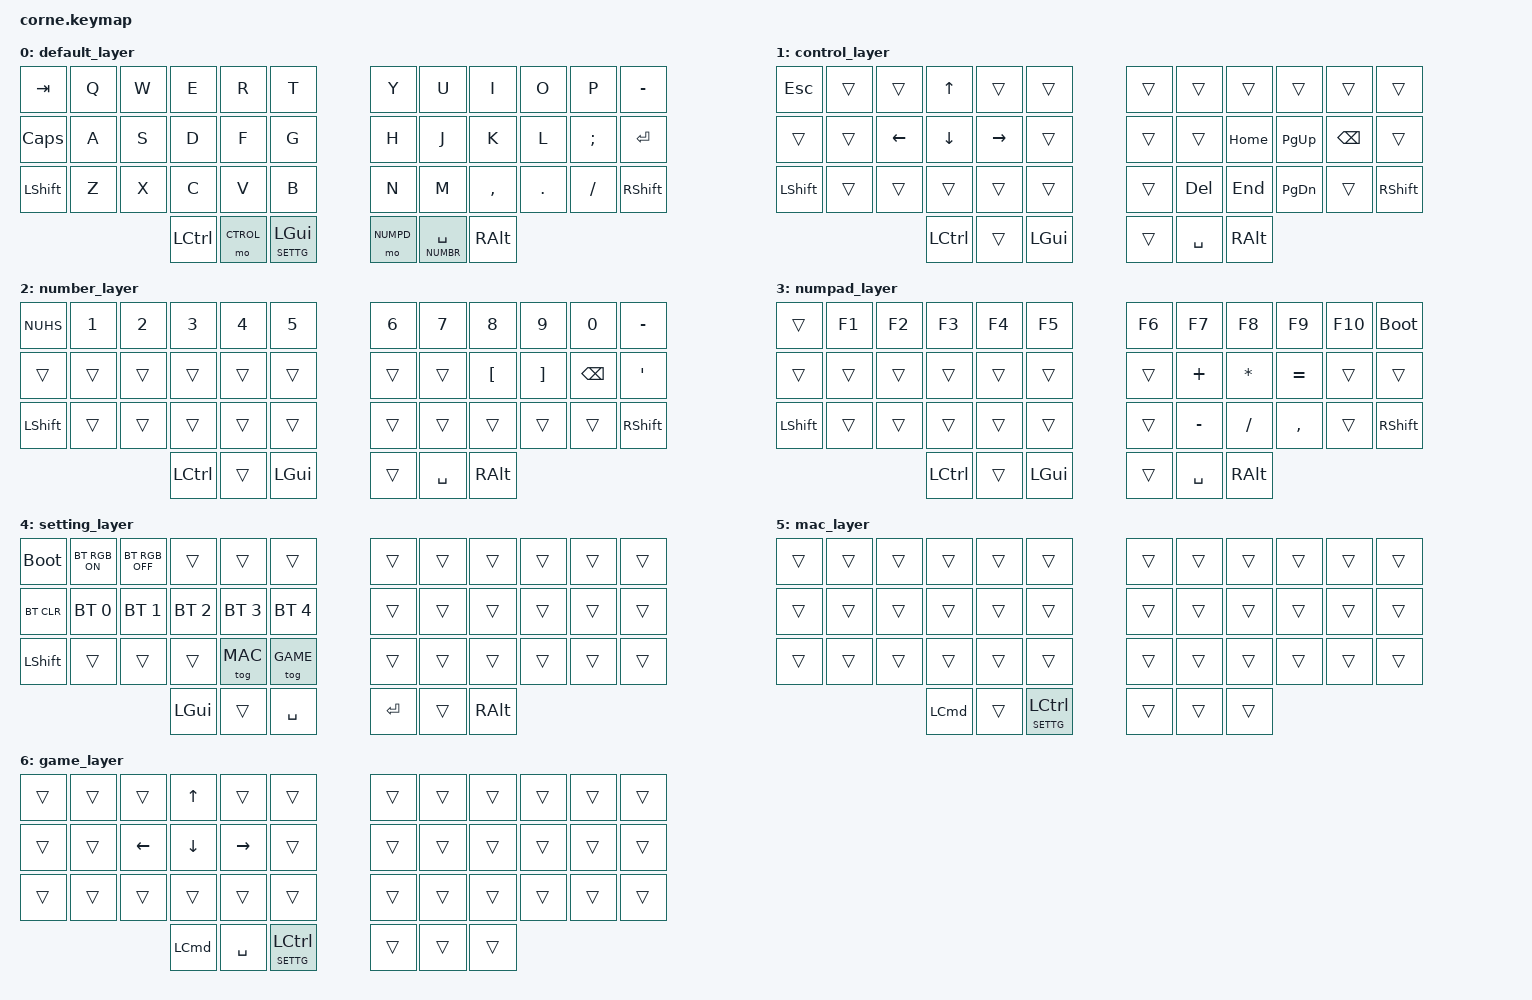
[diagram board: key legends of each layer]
/*
 * Copyright (c) 2020 The ZMK Contributors
 *
 * SPDX-License-Identifier: MIT
 */

#include <behaviors.dtsi>
#include <dt-bindings/zmk/keys.h>
#include <dt-bindings/zmk/bt.h>
#include <dt-bindings/zmk/rgb.h>

#define CTROL 1
#define NUMBR 2
#define NUMPD 3
#define SETTG 4
#define MAC 5
#define GAME 6

/ {
        keymap {
                compatible = "zmk,keymap";

                default_layer {
                        bindings = <
   &kp TAB   &kp Q &kp W &kp E &kp R &kp T   &kp Y &kp U  &kp I     &kp O   &kp P    &kp MINUS
   &kp CAPS  &kp A &kp S &kp D &kp F &kp G   &kp H &kp J  &kp K     &kp L   &kp SEMI &kp RET
   &kp LSHFT &kp Z &kp X &kp C &kp V &kp B   &kp N &kp M  &kp COMMA &kp DOT &kp FSLH &kp RSHIFT
                  &kp LCTRL &mo CTROL &lt SETTG LGUI   &mo NUMPD &lt NUMBR SPACE &kp RALT
                        >;
                };

                control_layer {
                        bindings = <
   &kp ESC    &trans      &trans       &kp UP       &trans       &trans         &trans   &trans   &trans &trans    &trans &trans
   &trans    &trans   &kp LEFT      &kp DOWN     &kp RIGHT &trans      &trans &trans &kp HOME &kp PG_UP &kp BSPC &trans
   &kp LSHFT  &trans     &trans       &trans       &trans       &trans     &trans   &kp DEL   &kp END &kp PG_DN  &trans &kp RSHFT
                                     &kp LCTRL &trans   &kp LGUI   &trans   &kp SPACE   &kp RALT
                        >;
                };

                number_layer {
                        bindings = <
   &kp NUHS    &kp N1       &kp N2       &kp N3       &kp N4       &kp N5         &kp N6   &kp N7   &kp N8 &kp N9    &kp N0 &kp MINUS
   &trans &trans   &trans &trans   &trans   &trans      &trans   &trans &kp LBKT   &kp RBKT   &kp BSPC &kp SQT
   &kp LSHFT &trans   &trans &trans   &trans   &trans      &trans &trans &trans &trans &trans &kp RSHIFT
                             &kp LCTRL &trans   &kp LGUI   &trans   &kp SPACE   &kp RALT
                        >;
                };

                numpad_layer {
                        bindings = <
   &trans    &kp F1       &kp F2       &kp F3       &kp F4       &kp F5       &kp F6   &kp F7   &kp F8 &kp F9  &kp F10 &bootloader
   &trans &trans   &trans &trans   &trans   &trans      &trans   &kp PLUS &kp ASTRK  &kp EQUAL  &trans &trans
   &kp LSHFT &trans   &trans &trans   &trans   &trans      &trans &kp MINUS &kp SLASH &kp COMMA &trans &kp RSHIFT
                             &kp LCTRL &trans   &kp LGUI   &trans   &kp SPACE   &kp RALT
                        >;
                };

                setting_layer {
                        bindings = <
   &bootloader &bt RGB_ON  &bt RGB_OFF  &trans   &trans   &trans         &trans &trans   &trans &trans   &trans   &trans
   &bt BT_CLR &bt BT_SEL 0 &bt BT_SEL 1 &bt BT_SEL 2 &bt BT_SEL 3 &bt BT_SEL 4   &trans &trans   &trans &trans   &trans   &trans
   &kp LSHFT  &trans       &trans       &trans       &tog MAC        &tog GAME         &trans   &trans   &trans &trans    &trans &trans
                                    &kp LGUI     &trans       &kp SPACE      &kp RET  &trans   &kp RALT
                        >;
                };
                mac_layer {
                        bindings = <
   &trans &trans   &trans &trans   &trans   &trans         &trans &trans   &trans &trans   &trans   &trans
   &trans &trans   &trans &trans   &trans   &trans   &trans &trans   &trans &trans   &trans   &trans
   &trans  &trans       &trans       &trans       &trans       &trans         &trans   &trans   &trans &trans    &trans &trans
                                    &kp LCMD     &trans       &lt SETTG LCTRL      &trans &trans &trans
                        >;
                };
                game_layer {
                        bindings = <
   &trans &trans   &trans &kp UP   &trans   &trans         &trans &trans   &trans &trans   &trans   &trans
   &trans &trans   &kp LEFT &kp DOWN   &kp RIGHT   &trans   &trans &trans   &trans &trans   &trans   &trans
   &trans  &trans       &trans       &trans       &trans       &trans         &trans   &trans   &trans &trans    &trans &trans
                                    &kp LCMD    &kp SPACE       &lt SETTG LCTRL      &trans &trans &trans
                        >;
                };
        };
};
